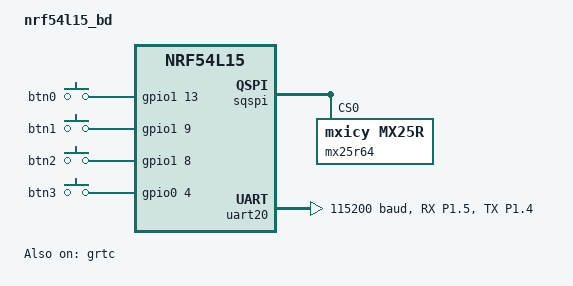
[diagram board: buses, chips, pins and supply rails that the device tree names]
/dts-v1/;
#include <nordic/nrf54l15_cpuapp.dtsi>
#include "NRF54L15_BD-pinctrl.dtsi"

/ {
	model = "nrf54l15_bd";
	compatible = "baram,NRF54L15-BD-cpuapp";

	chosen {
		zephyr,code-partition = &slot0_partition;
		zephyr,sram = &cpuapp_sram;
		zephyr,flash = &cpuapp_rram;
		zephyr,flash-controller = &rram_controller;
    zephyr,console = &uart20;
	};

  buttons {
		compatible = "gpio-keys";
		btn0: btn_0 { 
			gpios = <&gpio1 13 (GPIO_PULL_UP | GPIO_ACTIVE_HIGH)>;
			label = "btn0";
		};
		btn1: btn_1 {
			gpios = <&gpio1  9 (GPIO_PULL_UP | GPIO_ACTIVE_HIGH)>;
			label = "btn1";
		};  
		btn2: btn_2 {
			gpios = <&gpio1  8 (GPIO_PULL_UP | GPIO_ACTIVE_HIGH)>;
			label = "btn2";
		};
		btn3: btn_3 {
			gpios = <&gpio0  4 (GPIO_PULL_UP | GPIO_ACTIVE_HIGH)>;
			label = "btn3";
		};
  };   
};

/ {
	reserved-memory {
		#address-cells = <1>;
		#size-cells = <1>;
		ranges;

		softperipheral_ram: memory@2003c000 {
			reg = <0x2003c000 0x4000>;
			ranges = <0 0x2003c000 0x4000>;
			#address-cells = <1>;
			#size-cells = <1>;

			sqspi: sqspi@3b40 {
				compatible = "nordic,nrf-sqspi";
				#address-cells = <1>;
				#size-cells = <0>;
				reg = <0x3b40 0x200>;
				status = "okay";
				zephyr,pm-device-runtime-auto;
			};
		};
	};
};

&cpuflpr_vpr {
	pinctrl-0 = <&sqspi_default>;
	pinctrl-1 = <&sqspi_sleep>;
	pinctrl-names = "default", "sleep";
	interrupts = <76 NRF_DEFAULT_IRQ_PRIORITY>;
	status = "okay";
};

&sqspi {
	mx25r64: mx25r6435f@0 {
		compatible = "mxicy,mx25r", "jedec,mspi-nor";
		status = "okay";
		reg = <0>;
		jedec-id = [c2 28 17];
		// quad-enable-requirements = "S1B6";
		sfdp-bfp = [
			e5 20 f1 ff  ff ff ff 03  44 eb 08 6b  08 3b 04 bb
			ee ff ff ff  ff ff 00 ff  ff ff 00 ff  0c 20 0f 52
			10 d8 00 ff  23 72 f5 00  82 ed 04 cc  44 83 68 44
			30 b0 30 b0  f7 c4 d5 5c  00 be 29 ff  f0 d0 ff ff
		];
		size = <67108864>;
		has-dpd;
		t-enter-dpd = <10000>;
		t-exit-dpd = <35000>;
		t-reset-pulse = <10000>;
		t-reset-recovery = <35000>;

		mspi-max-frequency = <DT_FREQ_M(8)>;
		mspi-io-mode = "MSPI_IO_MODE_QUAD_1_4_4";
		mspi-data-rate = "MSPI_DATA_RATE_SINGLE";
		mspi-hardware-ce-num = <1>;
		mspi-cpp-mode = "MSPI_CPP_MODE_0";
		mspi-endian = "MSPI_BIG_ENDIAN";
		mspi-ce-polarity = "MSPI_CE_ACTIVE_LOW";
	};
};

&grtc {
	owned-channels = <0 1 2 3 4 5 6 7 8 9 10 11>;
	/* Channels 7-11 reserved for Zero Latency IRQs, 3-4 for FLPR */
	child-owned-channels = <3 4 7 8 9 10 11>;
	status = "okay";
};

&cpuapp_sram {
	status = "okay";
};

#include <nordic/nrf54l15_partition.dtsi>

&clock {
  status = "okay";
};

&gpio1 {
  status = "okay";
};

&pinctrl {
  uart00_default: uart00_default {
    group1 {
      psels = <NRF_PSEL(UART_TX, 1, 4)>, <NRF_PSEL(UART_RX, 1, 5)>;
      low-power-enable;
    };
  };

  uart00_sleep: uart00_sleep {
    group1 {
      psels = <NRF_PSEL(UART_TX, 1, 4)>;
      bias-pull-down;
    };

    group2 {
      psels = <NRF_PSEL(UART_RX, 1, 5)>;
      low-power-enable;
    };
  };

  uart20_default: uart20_default {
    group1 {
      psels = <NRF_PSEL(UART_RX, 1, 5)>, <NRF_PSEL(UART_TX, 1, 4)>;
    };
  };

  uart20_sleep: uart20_sleep {
    group1 {
      psels = <NRF_PSEL(UART_RX, 1, 5)>;
    };
  };

	sqspi_default: sqspi_default {
		group1 {
			psels = <NRF_PSEL(SDP_MSPI_SCK, 2, 1)>,
				<NRF_PSEL(SDP_MSPI_CS0, 2, 5)>,
				<NRF_PSEL(SDP_MSPI_DQ0, 2, 2)>;
			nordic,drive-mode = <NRF_DRIVE_E0E1>;
		};
		group2 {
			psels = <NRF_PSEL(SDP_MSPI_DQ1, 2, 4)>,
				<NRF_PSEL(SDP_MSPI_DQ2, 2, 3)>,
				<NRF_PSEL(SDP_MSPI_DQ3, 2, 0)>;
			nordic,drive-mode = <NRF_DRIVE_E0E1>;
			bias-pull-up;
		};
	};

	sqspi_sleep: sqspi_sleep {
		group1 {
			low-power-enable;
			psels = <NRF_PSEL(SDP_MSPI_SCK, 2, 1)>,
				<NRF_PSEL(SDP_MSPI_CS0, 2, 5)>,
				<NRF_PSEL(SDP_MSPI_DQ0, 2, 2)>,
				<NRF_PSEL(SDP_MSPI_DQ1, 2, 4)>,
				<NRF_PSEL(SDP_MSPI_DQ2, 2, 3)>,
				<NRF_PSEL(SDP_MSPI_DQ3, 2, 0)>;
		};
	};  
};

&gpiote20 {
  status = "okay";
};

&gpiote30 {
  status = "okay";
};

&uart20 {
  status = "okay";
  current-speed = <115200>;
  pinctrl-0 = <&uart20_default>;
  pinctrl-1 = <&uart20_sleep>;
  pinctrl-names = "default", "sleep";
};


 
&gpio0 {
  status = "okay";
};

&gpio2 {
  status = "okay";
};
